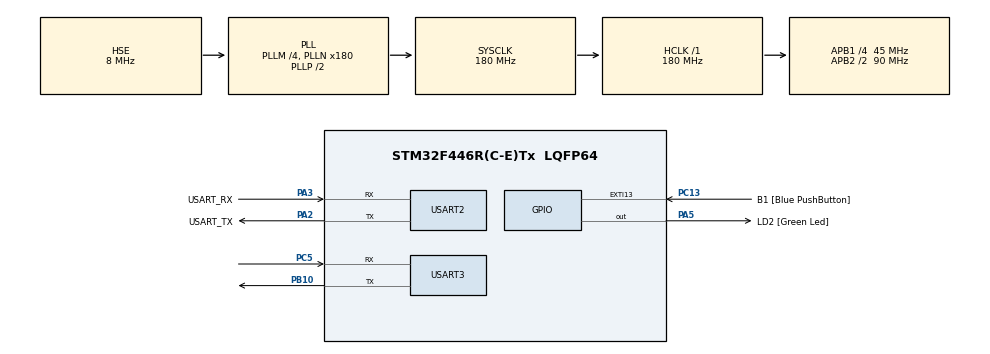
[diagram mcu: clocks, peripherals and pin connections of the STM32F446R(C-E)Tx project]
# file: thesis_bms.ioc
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Dma.Request0=USART2_RX
Dma.Request1=USART2_TX
Dma.Request2=USART3_RX
Dma.Request3=USART3_TX
Dma.USART2_RX.0.Direction=DMA_PERIPH_TO_MEMORY
Dma.USART2_RX.0.FIFOMode=DMA_FIFOMODE_DISABLE
Dma.USART2_RX.0.Instance=DMA1_Stream5
Dma.USART2_RX.0.MemDataAlignment=DMA_MDATAALIGN_BYTE
Dma.USART2_RX.0.MemInc=DMA_MINC_ENABLE
Dma.USART2_RX.0.Mode=DMA_NORMAL
Dma.USART2_RX.0.PeriphDataAlignment=DMA_PDATAALIGN_BYTE
Dma.USART2_RX.0.PeriphInc=DMA_PINC_DISABLE
Dma.USART2_RX.0.Priority=DMA_PRIORITY_LOW
Dma.USART2_TX.1.Direction=DMA_MEMORY_TO_PERIPH
Dma.USART2_TX.1.FIFOMode=DMA_FIFOMODE_DISABLE
Dma.USART2_TX.1.Instance=DMA1_Stream6
Dma.USART2_TX.1.MemDataAlignment=DMA_MDATAALIGN_BYTE
Dma.USART2_TX.1.MemInc=DMA_MINC_ENABLE
Dma.USART2_TX.1.Mode=DMA_NORMAL
Dma.USART2_TX.1.PeriphDataAlignment=DMA_PDATAALIGN_BYTE
Dma.USART2_TX.1.PeriphInc=DMA_PINC_DISABLE
Dma.USART2_TX.1.Priority=DMA_PRIORITY_LOW
Dma.USART3_RX.2.Direction=DMA_PERIPH_TO_MEMORY
Dma.USART3_RX.2.FIFOMode=DMA_FIFOMODE_DISABLE
Dma.USART3_RX.2.Instance=DMA1_Stream1
Dma.USART3_RX.2.MemDataAlignment=DMA_MDATAALIGN_BYTE
Dma.USART3_RX.2.MemInc=DMA_MINC_ENABLE
Dma.USART3_RX.2.Mode=DMA_NORMAL
Dma.USART3_RX.2.PeriphDataAlignment=DMA_PDATAALIGN_BYTE
Dma.USART3_RX.2.PeriphInc=DMA_PINC_DISABLE
Dma.USART3_RX.2.Priority=DMA_PRIORITY_LOW
Dma.USART3_TX.3.Direction=DMA_MEMORY_TO_PERIPH
Dma.USART3_TX.3.FIFOMode=DMA_FIFOMODE_DISABLE
Dma.USART3_TX.3.Instance=DMA1_Stream3
Dma.USART3_TX.3.MemDataAlignment=DMA_MDATAALIGN_BYTE
Dma.USART3_TX.3.MemInc=DMA_MINC_ENABLE
Dma.USART3_TX.3.Mode=DMA_NORMAL
Dma.USART3_TX.3.PeriphDataAlignment=DMA_PDATAALIGN_BYTE
Dma.USART3_TX.3.PeriphInc=DMA_PINC_DISABLE
Dma.USART3_TX.3.Priority=DMA_PRIORITY_LOW
FREERTOS.Tasks01=defaultTask,40,2500,StartDefaultTask,Default,NULL,Dynamic,NULL,NULL;task_2,8,128,StartTask02,Default,NULL,Dynamic,NULL,NULL
Mcu.Family=STM32F4
Mcu.Name=STM32F446R(C-E)Tx
Mcu.Package=LQFP64
NVIC.DMA1_Stream1_IRQn=true\:5\:0\:false\:false\:true\:true\:false\:true\:true
NVIC.DMA1_Stream3_IRQn=true\:5\:0\:false\:false\:true\:true\:false\:true\:true
NVIC.DMA1_Stream5_IRQn=true\:5\:0\:false\:false\:true\:true\:false\:true\:true
NVIC.DMA1_Stream6_IRQn=true\:5\:0\:false\:false\:true\:true\:false\:true\:true
NVIC.PriorityGroup=NVIC_PRIORITYGROUP_4
NVIC.TIM2_IRQn=true\:15\:0\:false\:false\:true\:false\:false\:true\:true
NVIC.TimeBase=TIM2_IRQn
NVIC.TimeBaseIP=TIM2
NVIC.USART2_IRQn=true\:5\:0\:false\:false\:true\:true\:true\:true\:true
NVIC.USART3_IRQn=true\:5\:0\:false\:false\:true\:true\:true\:true\:true
PA13.GPIO_Label=TMS
PA13.Mode=Serial_Wire
PA13.Signal=SYS_JTMS-SWDIO
PA14.GPIO_Label=TCK
PA14.Mode=Serial_Wire
PA14.Signal=SYS_JTCK-SWCLK
PA2.GPIO_Label=USART_TX
PA2.Mode=Asynchronous
PA2.Signal=USART2_TX
PA3.GPIO_Label=USART_RX
PA3.Mode=Asynchronous
PA3.Signal=USART2_RX
PA5.GPIO_Label=LD2 [Green Led]
PA5.Signal=GPIO_Output
PB10.Mode=Asynchronous
PB10.Signal=USART3_TX
PB3.GPIO_Label=SWO
PB3.Signal=SYS_JTDO-SWO
PC13.GPIO_Label=B1 [Blue PushButton]
PC13.GPIO_ModeDefaultEXTI=GPIO_MODE_IT_FALLING
PC13.Signal=GPXTI13
PC14-OSC32_IN.Mode=LSE-External-Oscillator
PC14-OSC32_IN.Signal=RCC_OSC32_IN
PC15-OSC32_OUT.Mode=LSE-External-Oscillator
PC15-OSC32_OUT.Signal=RCC_OSC32_OUT
PC5.Mode=Asynchronous
PC5.Signal=USART3_RX
PH0-OSC_IN.Mode=HSE-External-Oscillator
PH0-OSC_IN.Signal=RCC_OSC_IN
PH1-OSC_OUT.Mode=HSE-External-Oscillator
PH1-OSC_OUT.Signal=RCC_OSC_OUT
ProjectManager.HeapSize=0x200
ProjectManager.StackSize=0x400
ProjectManager.TargetToolchain=STM32CubeIDE
RCC.48MHZClocksFreq_Value=84000000
RCC.AHBFreq_Value=180000000
RCC.APB1CLKDivider=RCC_HCLK_DIV4
RCC.APB1Freq_Value=45000000
RCC.APB1TimFreq_Value=90000000
RCC.APB2CLKDivider=RCC_HCLK_DIV2
RCC.APB2Freq_Value=90000000
RCC.APB2TimFreq_Value=180000000
RCC.CortexFreq_Value=180000000
RCC.FLatency-AdvancedSettings=FLASH_LATENCY_5
RCC.HCLKFreq_Value=180000000
RCC.HSE_VALUE=8000000
RCC.HSI_VALUE=16000000
RCC.PLLM=4
RCC.PLLN=180
RCC.PLLSourceVirtual=RCC_PLLSOURCE_HSE
RCC.SYSCLKFreq_VALUE=180000000
RCC.SYSCLKSource=RCC_SYSCLKSOURCE_PLLCLK
RCC.USBFreq_Value=180000000
RCC.VCOOutputFreq_Value=360000000
USART2.VirtualMode=VM_ASYNC
USART3.VirtualMode=VM_ASYNC
VP_FREERTOS_VS_CMSIS_V2.Mode=CMSIS_V2
VP_SYS_VS_tim2.Mode=TIM2
board=NUCLEO-F446RE

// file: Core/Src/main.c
/* USER CODE BEGIN Header */
/**
 ******************************************************************************
 * @file           : main.c
 * @brief          : Main program body
 ******************************************************************************
 * @attention
 *
 * Copyright (c) 2024 STMicroelectronics.
 * All rights reserved.
 *
 * This software is licensed under terms that can be found in the LICENSE file
 * in the root directory of this software component.
 * If no LICENSE file comes with this software, it is provided AS-IS.
 *
 ******************************************************************************
 */
/* USER CODE END Header */
#include "main.h"
#include "cmsis_os.h"

/* USER CODE BEGIN Includes */
#include <rcl/rcl.h>
#include <rcl/error_handling.h>
#include <rclc/rclc.h>
#include <rclc/executor.h>
#include <uxr/client/transport.h>
#include <rmw_microxrcedds_c/config.h>
#include <rmw_microros/rmw_microros.h>

#include <std_msgs/msg/string.h>
#include <sensor_msgs/msg/battery_state.h>

#include <stdio.h>
#include <string.h>
/* USER CODE END Includes */

/* USER CODE BEGIN PD */
#define ARRAY_LEN 200
#define RCCHECK(fn)                                                                \
  {                                                                                \
    rcl_ret_t temp_rc = fn;                                                        \
    if ((temp_rc != RCL_RET_OK))                                                   \
    {                                                                              \
      printf("Failed status on line %d: %d. Aborting.\n", __LINE__, (int)temp_rc); \
      return 1;                                                                    \
    }                                                                              \
  }
#define RCSOFTCHECK(fn)                                                              \
  {                                                                                  \
    rcl_ret_t temp_rc = fn;                                                          \
    if ((temp_rc != RCL_RET_OK))                                                     \
    {                                                                                \
      printf("Failed status on line %d: %d. Continuing.\n", __LINE__, (int)temp_rc); \
    }                                                                                \
  }
/* USER CODE END PD */

/* USER CODE BEGIN PM */
rcl_publisher_t publisher_battery;

sensor_msgs__msg__BatteryState bms_battery_msg;

/* USER CODE END PM */

UART_HandleTypeDef huart2;
UART_HandleTypeDef huart3;
DMA_HandleTypeDef hdma_usart2_rx;
DMA_HandleTypeDef hdma_usart2_tx;
DMA_HandleTypeDef hdma_usart3_rx;
DMA_HandleTypeDef hdma_usart3_tx;

/* Definitions for defaultTask */
osThreadId_t defaultTaskHandle;
const osThreadAttr_t defaultTask_attributes = {
  .name = "defaultTask",
  .stack_size = 2500 * 4,
  .priority = (osPriority_t) osPriorityHigh,
};
/* Definitions for task_2 */
osThreadId_t task_2Handle;
const osThreadAttr_t task_2_attributes = {
  .name = "task_2",
  .stack_size = 128 * 4,
  .priority = (osPriority_t) osPriorityLow,
};

void SystemClock_Config(void);
static void MX_GPIO_Init(void);
static void MX_DMA_Init(void);
static void MX_USART2_UART_Init(void);
static void MX_USART3_UART_Init(void);
void StartDefaultTask(void *argument);
void StartTask02(void *argument);

/* USER CODE BEGIN 0 */

void debug_led()
{
  HAL_GPIO_WritePin(LD2_GPIO_Port, LD2_Pin, GPIO_PIN_SET);
  HAL_Delay(200);
  HAL_GPIO_WritePin(LD2_GPIO_Port, LD2_Pin, GPIO_PIN_RESET);
  HAL_Delay(200);
}

/* USER CODE END 0 */

int main(void)
{

  /* MCU Configuration--------------------------------------------------------*/

  /* Reset of all peripherals, Initializes the Flash interface and the Systick. */
  HAL_Init();

  /* Configure the system clock */
  SystemClock_Config();

  /* Initialize all configured peripherals */
  MX_GPIO_Init();
  MX_DMA_Init();
  MX_USART2_UART_Init();
  MX_USART3_UART_Init();

  /* Init scheduler */
  osKernelInitialize();

  /* Create the thread(s) */
  /* creation of defaultTask */
  defaultTaskHandle = osThreadNew(StartDefaultTask, NULL, &defaultTask_attributes);

  /* creation of task_2 */
  task_2Handle = osThreadNew(StartTask02, NULL, &task_2_attributes);

  /* Start scheduler */
  osKernelStart();

  /* We should never get here as control is now taken by the scheduler */
  /* Infinite loop */
  while (1)
  {

  }
}

void SystemClock_Config(void)
{
  RCC_OscInitTypeDef RCC_OscInitStruct = {0};
  RCC_ClkInitTypeDef RCC_ClkInitStruct = {0};

  /** Configure the main internal regulator output voltage
  */
  __HAL_RCC_PWR_CLK_ENABLE();
  __HAL_PWR_VOLTAGESCALING_CONFIG(PWR_REGULATOR_VOLTAGE_SCALE1);

  /** Initializes the RCC Oscillators according to the specified parameters
  * in the RCC_OscInitTypeDef structure.
  */
  RCC_OscInitStruct.OscillatorType = RCC_OSCILLATORTYPE_HSE;
  RCC_OscInitStruct.HSEState = RCC_HSE_ON;
  RCC_OscInitStruct.PLL.PLLState = RCC_PLL_ON;
  RCC_OscInitStruct.PLL.PLLSource = RCC_PLLSOURCE_HSE;
  RCC_OscInitStruct.PLL.PLLM = 4;
  RCC_OscInitStruct.PLL.PLLN = 180;
  RCC_OscInitStruct.PLL.PLLP = RCC_PLLP_DIV2;
  RCC_OscInitStruct.PLL.PLLQ = 2;
  RCC_OscInitStruct.PLL.PLLR = 2;
  if (HAL_RCC_OscConfig(&RCC_OscInitStruct) != HAL_OK)
  {
    Error_Handler();
  }

  /** Activate the Over-Drive mode
  */
  if (HAL_PWREx_EnableOverDrive() != HAL_OK)
  {
    Error_Handler();
  }

  /** Initializes the CPU, AHB and APB buses clocks
  */
  RCC_ClkInitStruct.ClockType = RCC_CLOCKTYPE_HCLK|RCC_CLOCKTYPE_SYSCLK
                              |RCC_CLOCKTYPE_PCLK1|RCC_CLOCKTYPE_PCLK2;
  RCC_ClkInitStruct.SYSCLKSource = RCC_SYSCLKSOURCE_PLLCLK;
  RCC_ClkInitStruct.AHBCLKDivider = RCC_SYSCLK_DIV1;
  RCC_ClkInitStruct.APB1CLKDivider = RCC_HCLK_DIV4;
  RCC_ClkInitStruct.APB2CLKDivider = RCC_HCLK_DIV2;

  if (HAL_RCC_ClockConfig(&RCC_ClkInitStruct, FLASH_LATENCY_5) != HAL_OK)
  {
    Error_Handler();
  }
}

static void MX_USART2_UART_Init(void)
{

  huart2.Instance = USART3;
  huart2.Init.BaudRate = 115200;
  huart2.Init.WordLength = UART_WORDLENGTH_8B;
  huart2.Init.StopBits = UART_STOPBITS_1;
  huart2.Init.Parity = UART_PARITY_NONE;
  huart2.Init.Mode = UART_MODE_TX_RX;
  huart2.Init.HwFlowCtl = UART_HWCONTROL_NONE;
  huart2.Init.OverSampling = UART_OVERSAMPLING_16;
  if (HAL_UART_Init(&huart2) != HAL_OK)
  {
    Error_Handler();
  }

}

static void MX_USART3_UART_Init(void)
{

  huart3.Instance = USART3;
  huart3.Init.BaudRate = 115200;
  huart3.Init.WordLength = UART_WORDLENGTH_8B;
  huart3.Init.StopBits = UART_STOPBITS_1;
  huart3.Init.Parity = UART_PARITY_NONE;
  huart3.Init.Mode = UART_MODE_TX_RX;
  huart3.Init.HwFlowCtl = UART_HWCONTROL_NONE;
  huart3.Init.OverSampling = UART_OVERSAMPLING_16;
  if (HAL_UART_Init(&huart3) != HAL_OK)
  {
    Error_Handler();
  }

}

static void MX_DMA_Init(void)
{

  /* DMA controller clock enable */
  __HAL_RCC_DMA1_CLK_ENABLE();

  /* DMA interrupt init */
  /* DMA1_Stream1_IRQn interrupt configuration */
  HAL_NVIC_SetPriority(DMA1_Stream1_IRQn, 5, 0);
  HAL_NVIC_EnableIRQ(DMA1_Stream1_IRQn);
  /* DMA1_Stream3_IRQn interrupt configuration */
  HAL_NVIC_SetPriority(DMA1_Stream3_IRQn, 5, 0);
  HAL_NVIC_EnableIRQ(DMA1_Stream3_IRQn);
  /* DMA1_Stream5_IRQn interrupt configuration */
  HAL_NVIC_SetPriority(DMA1_Stream5_IRQn, 5, 0);
  HAL_NVIC_EnableIRQ(DMA1_Stream5_IRQn);
  /* DMA1_Stream6_IRQn interrupt configuration */
  HAL_NVIC_SetPriority(DMA1_Stream6_IRQn, 5, 0);
  HAL_NVIC_EnableIRQ(DMA1_Stream6_IRQn);

}

static void MX_GPIO_Init(void)
{
  GPIO_InitTypeDef GPIO_InitStruct = {0};

  /* GPIO Ports Clock Enable */
  __HAL_RCC_GPIOC_CLK_ENABLE();
  __HAL_RCC_GPIOH_CLK_ENABLE();
  __HAL_RCC_GPIOA_CLK_ENABLE();
  __HAL_RCC_GPIOB_CLK_ENABLE();

  /*Configure GPIO pin Output Level */
  HAL_GPIO_WritePin(LD2_GPIO_Port, LD2_Pin, GPIO_PIN_RESET);

  /*Configure GPIO pin : B1_Pin */
  GPIO_InitStruct.Pin = B1_Pin;
  GPIO_InitStruct.Mode = GPIO_MODE_IT_FALLING;
  GPIO_InitStruct.Pull = GPIO_NOPULL;
  HAL_GPIO_Init(B1_GPIO_Port, &GPIO_InitStruct);

  /*Configure GPIO pin : LD2_Pin */
  GPIO_InitStruct.Pin = LD2_Pin;
  GPIO_InitStruct.Mode = GPIO_MODE_OUTPUT_PP;
  GPIO_InitStruct.Pull = GPIO_NOPULL;
  GPIO_InitStruct.Speed = GPIO_SPEED_FREQ_LOW;
  HAL_GPIO_Init(LD2_GPIO_Port, &GPIO_InitStruct);

}

/* USER CODE BEGIN 4 */
bool cubemx_transport_open(struct uxrCustomTransport *transport);
bool cubemx_transport_close(struct uxrCustomTransport *transport);
size_t cubemx_transport_write(struct uxrCustomTransport *transport, const uint8_t *buf, size_t len, uint8_t *err);
size_t cubemx_transport_read(struct uxrCustomTransport *transport, uint8_t *buf, size_t len, int timeout, uint8_t *err);

void *microros_allocate(size_t size, void *state);
void microros_deallocate(void *pointer, void *state);
void *microros_reallocate(void *pointer, size_t size, void *state);
void *microros_zero_allocate(size_t number_of_elements, size_t size_of_element, void *state);

/* USER CODE END 4 */

void StartDefaultTask(void *argument)
{
  /* USER CODE BEGIN 5 */
  /* Infinite loop */
  char test_array[ARRAY_LEN];
  memset(test_array, 'z', ARRAY_LEN);

  rmw_uros_set_custom_transport(
      true,
      (void *)&huart2,
      cubemx_transport_open,
      cubemx_transport_close,
      cubemx_transport_write,
      cubemx_transport_read);

  rcl_allocator_t freeRTOS_allocator = rcutils_get_zero_initialized_allocator();
  freeRTOS_allocator.allocate = microros_allocate;
  freeRTOS_allocator.deallocate = microros_deallocate;
  freeRTOS_allocator.reallocate = microros_reallocate;
  freeRTOS_allocator.zero_allocate = microros_zero_allocate;

  if (!rcutils_set_default_allocator(&freeRTOS_allocator))
  {
    printf("Error on default allocators (line %d)\n", __LINE__);
  }

  // micro-ROS app
  rclc_support_t support;
  rcl_allocator_t allocator;
  rcl_node_t node;

  allocator = rcl_get_default_allocator();

  // create init_options
  rclc_support_init(&support, 0, NULL, &allocator);

  // create node
  rclc_node_init_default(&node, "bms_node", "", &support);

  // create publisher

  RCCHECK(rclc_publisher_init_best_effort(
      &publisher_battery,
      &node,
      ROSIDL_GET_MSG_TYPE_SUPPORT(sensor_msgs, msg, BatteryState),
      "/battery_publisher"))

  // create executor
  rclc_executor_t executor = rclc_executor_get_zero_initialized_executor();

  // initialize message memory

  bms_battery_msg.header.frame_id.capacity = 100;
  bms_battery_msg.header.frame_id.data =(char * ) malloc(100 * sizeof(char));
  bms_battery_msg.header.frame_id.size = 0;

  bms_battery_msg.voltage = 50.0;

  bms_battery_msg.current = 30.0;

     for(;;)
    {
      rcl_ret_t ret = rcl_publish(&publisher_battery, &bms_battery_msg, NULL);
      if (ret != RCL_RET_OK)
      {
        printf("Error publishing (line %d)\n", __LINE__);
      }
      //debug_led();

      osDelay(1);
    }

  // execute subscriber
  rclc_executor_spin(&executor);

  // cleaning Up
  RCCHECK(rcl_publisher_fini(&publisher_battery, &node));
  RCCHECK(rcl_node_fini(&node));
  /* USER CODE END 5 */
}

void StartTask02(void *argument)
{
  /* USER CODE BEGIN StartTask02 */
  /* Infinite loop */
  for(;;)
  {
	debug_led();
	char * message = "Hello\n";
	HAL_UART_Transmit_DMA(&huart2, (char *)message, sizeof(message));
    osDelay(1000);
  }
  /* USER CODE END StartTask02 */
}

void HAL_TIM_PeriodElapsedCallback(TIM_HandleTypeDef *htim)
{
  if (htim->Instance == TIM2) {
    HAL_IncTick();
  }
}

void Error_Handler(void)
{
  __disable_irq();
  while (1)
  {
  }
}
